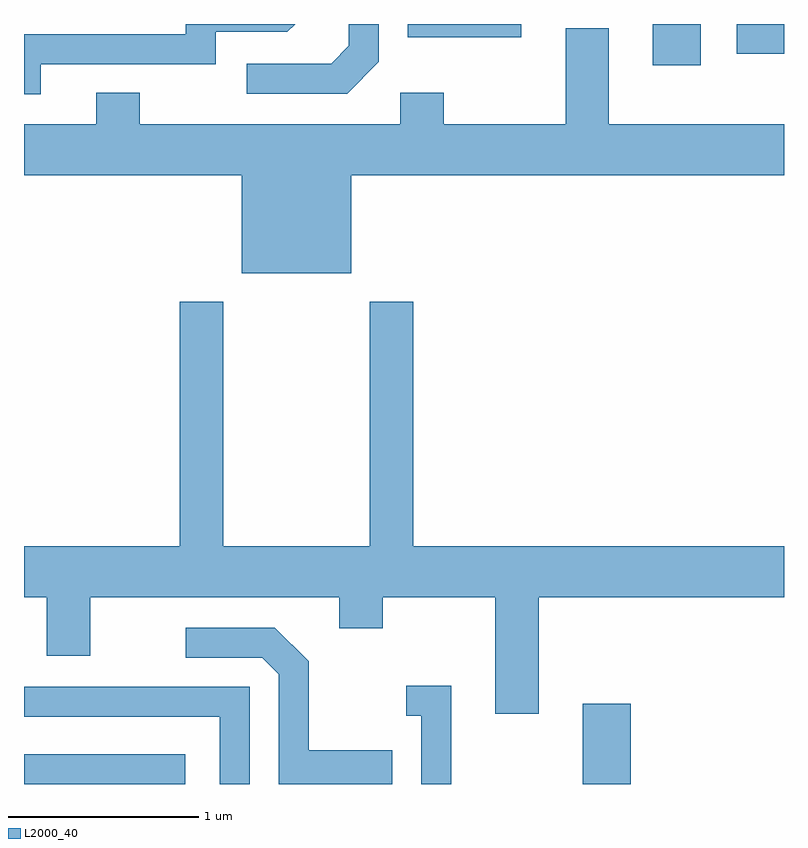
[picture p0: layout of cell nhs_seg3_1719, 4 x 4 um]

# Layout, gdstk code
import gdstk
lib = gdstk.Library(unit=1e-6, precision=1e-09)
def R(c, l, rs):  # rectangles x0, y0, x1, y1
    for r in rs: c.add(gdstk.rectangle(r[:2], r[2:], *l))
def P(c, l, *ps):  # polygons
    for p in ps: c.add(gdstk.Polygon(p, *l))
L2000_40 = (2000, 40)

nhs_seg3_1719 = lib.new_cell('nhs_seg3_1719')
R(nhs_seg3_1719, L2000_40, [(235.611,1153.892,236.459,1154.049), (238.551,1153.892,238.804,1154.314), (238.921,1157.676,239.174,1157.892), (239.363,1157.736,239.611,1157.892), (237.631,1157.821,238.229,1157.892)])
P(nhs_seg3_1719, L2000_40, [(237.479,1157.694),(237.479,1157.892),(237.321,1157.892),(237.321,1157.777),(237.229,1157.684),(236.783,1157.684),(236.783,1157.526),(237.312,1157.526)],
  [(235.699,1157.681),(236.619,1157.681),(236.619,1157.851),(236.997,1157.851),(237.038,1157.892),(236.461,1157.892),(236.461,1157.839),(235.611,1157.839),(235.611,1157.521),(235.699,1157.521)],
  [(237.334,1157.096),(239.611,1157.096),(239.611,1157.364),(238.689,1157.364),(238.689,1157.869),(238.461,1157.869),(238.461,1157.364),(237.819,1157.364),(237.819,1157.529),(237.591,1157.529),(237.591,1157.364),(236.219,1157.364),(236.219,1157.529),(235.991,1157.529),(235.991,1157.364),(235.611,1157.364),(235.611,1157.096),(236.756,1157.096),(236.756,1156.581),(237.334,1156.581)],
  [(237.431,1155.144),(236.659,1155.144),(236.659,1156.429),(236.431,1156.429),(236.431,1155.144),(235.611,1155.144),(235.611,1154.876),(235.731,1154.876),(235.731,1154.566),(235.959,1154.566),(235.959,1154.876),(237.271,1154.876),(237.271,1154.711),(237.499,1154.711),(237.499,1154.876),(238.091,1154.876),(238.091,1154.261),(238.319,1154.261),(238.319,1154.876),(239.611,1154.876),(239.611,1155.144),(237.659,1155.144),(237.659,1156.429),(237.431,1156.429)],
  [(237.549,1154.069),(237.109,1154.069),(237.109,1154.537),(236.932,1154.714),(236.463,1154.714),(236.463,1154.556),(236.864,1154.556),(236.951,1154.469),(236.951,1153.892),(237.549,1153.892)],
  [(237.859,1154.409),(237.623,1154.409),(237.623,1154.251),(237.701,1154.251),(237.701,1153.892),(237.859,1153.892)],
  [(236.799,1154.404),(235.611,1154.404),(235.611,1154.246),(236.641,1154.246),(236.641,1153.892),(236.799,1153.892)])

lib.write_gds('nhs_seg3_1719.gds')
